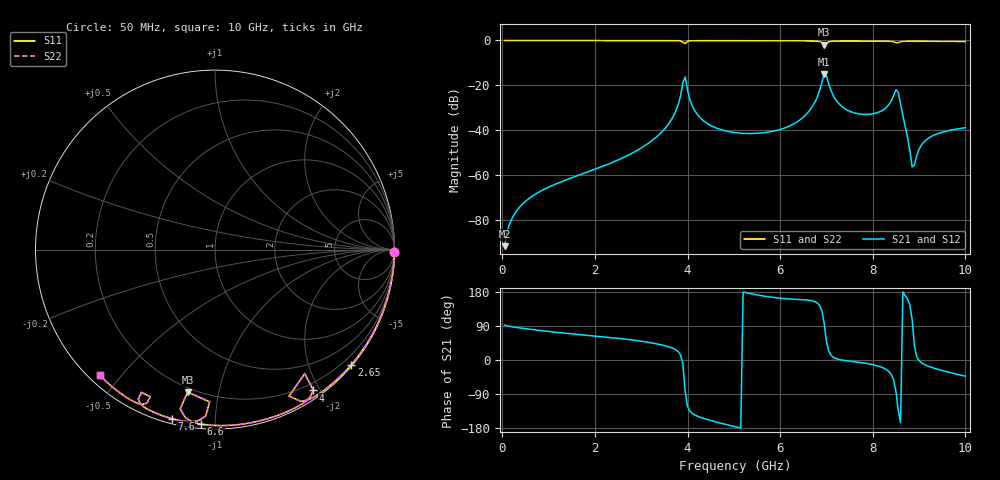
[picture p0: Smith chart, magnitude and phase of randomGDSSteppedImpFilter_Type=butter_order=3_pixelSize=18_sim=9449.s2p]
! freq	dB(S11)	phase(S11)	dB(S12)	phase(S12)
!  dB(S21)	phase(S21)	dB(S22)	phase(S22)
!S-par simulation data
#  GHz  S  DB  R 50
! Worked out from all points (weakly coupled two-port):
!   200 points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, 50 MHz to 10 GHz, reference 50 ohm
!   highest |S21| = -14.87 dB at 6.95 GHz (marker M1); lowest = -91.4 dB at 50 MHz (marker M2)
!   lowest |S11| = -1.8 dB at 6.95 GHz (marker M3), VSWR 9.45, Z = 8.84 - j40.5 ohm
!   |S11| at or under -10 dB: nowhere
!   |S22| runs from -1.9 to 0.0 dB; largest |S21 - S12| = 0
!   S11 on the Smith chart (normalised r, x): 50 MHz: open; 2.65 GHz: 0.03, -2.74; 4 GHz: 0.10, -1.91; 6.6 GHz: 0.02, -0.92; 7.6 GHz: 0.02, -0.78; 10 GHz: 0.03, -0.44
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0.05  -0.00 -0.8  -91.43 92.3  -91.43 92.3  -0.00 -0.8
0.75  -0.01 -11.6  -67.87 78.9  -67.87 78.9  -0.01 -11.6
1.75  -0.03 -26.7  -59.13 66.0  -59.13 66.0  -0.03 -26.7
2.65  -0.05 -40.1  -51.69 55.2  -51.69 55.2  -0.05 -40.1
3.4  -0.07 -51.3  -41.60 40.9  -41.60 40.9  -0.07 -51.3
3.75  -0.11 -57.3  -31.20 26.7  -31.20 26.7  -0.11 -57.3
3.95  -1.38 -54.1  -16.22 -83.9  -16.22 -83.9  -1.38 -54.1
4  -0.38 -55.0  -22.14 -122.9  -22.14 -122.9  -0.38 -55.0
4.1  -0.14 -58.6  -28.96 -140.8  -28.96 -140.8  -0.14 -58.6
4.3  -0.10 -62.4  -34.89 -152.2  -34.89 -152.2  -0.10 -62.4
5.05  -0.12 -73.1  -41.00 -176.6  -41.00 -176.6  -0.12 -73.1
5.95  -0.15 -85.3  -39.86 163.7  -39.86 163.7  -0.15 -85.3
6.6  -0.21 -94.5  -32.01 158.0  -32.01 158.0  -0.22 -94.5
6.7  -0.25 -96.3  -29.23 155.9  -29.23 155.9  -0.25 -96.3
6.95  -1.84 -100.9  -14.87 97.4  -14.87 97.4  -1.85 -100.9
7.25  -0.26 -99.0  -27.68 2.1  -27.68 2.1  -0.26 -99.0
7.6  -0.25 -104.4  -32.17 -4.4  -32.17 -4.4  -0.25 -104.4
8.35  -0.36 -115.0  -28.48 -30.6  -28.48 -30.6  -0.36 -115.0
8.55  -0.96 -113.7  -23.06 -133.3  -23.06 -133.3  -0.96 -113.7
8.85  -0.35 -118.6  -56.18 107.1  -56.18 107.1  -0.35 -118.6
9.2  -0.37 -123.2  -43.42 -16.7  -43.42 -16.7  -0.37 -123.2
10  -0.45 -132.7  -38.76 -42.7  -38.76 -42.7  -0.45 -132.7
